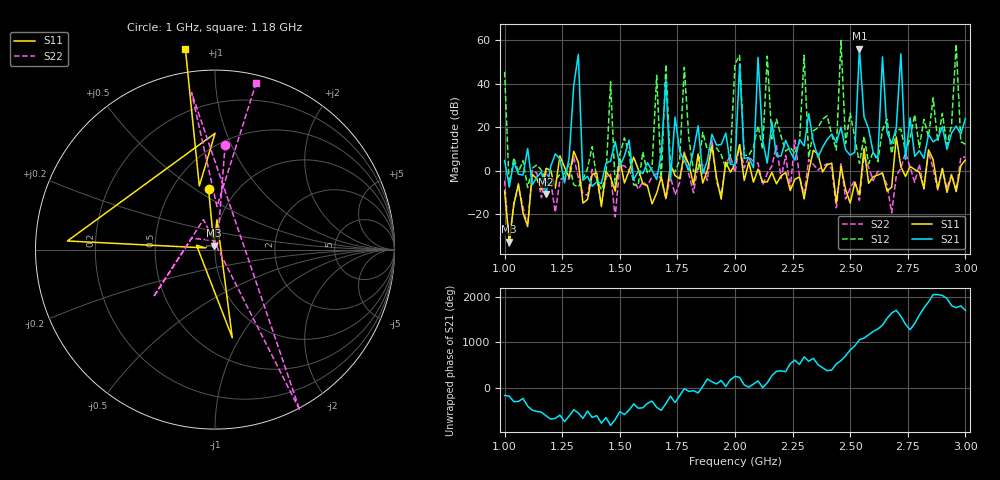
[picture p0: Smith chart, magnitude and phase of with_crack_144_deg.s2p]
# MHz S MA R 50
!  freq  S11  S21  S12  S22
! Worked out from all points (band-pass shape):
!   101 points, 1 GHz to 3 GHz, reference 50 ohm
!   highest |S21| = 55.95 dB at 2.54 GHz (marker M1); lowest = -10.7 dB at 1.18 GHz (marker M2)
!   |S21| within 3 dB of the highest: 1.319357 GHz to 1.320159 GHz (802.2 kHz wide, 0.0608 % of centre); 2.538736 GHz to 2.541923 GHz (3.187 MHz wide, 0.125 % of centre) (the widest 2 of 3)
!   lowest |S11| = -32.6 dB at 1.02 GHz (marker M3), VSWR 1.05, Z = 49.4 + j2.24 ohm
!   |S11| at or under -10 dB: 1.001 GHz to 1.052 GHz (51.12 MHz wide, 4.98 % of centre); 1.066 GHz to 1.113 GHz (47.07 MHz wide, 4.32 % of centre); 1.335 GHz to 1.366 GHz (30.8 MHz wide, 2.28 % of centre) (the widest 3 of 11)
!   |S22| runs from -34.7 to 14.4 dB; largest |S21 - S12| = 9.7e+02
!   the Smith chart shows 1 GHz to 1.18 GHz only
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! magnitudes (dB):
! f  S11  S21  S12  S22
! 1 GHz  -9.4  4.7  45.4  -4.6
! 1.02 GHz  -32.6  -7.1  -7.5  -34.7
! 1.18 GHz  1.0  -10.7  -4.8  -0.4
! 1.32 GHz  3.8  53.4  -7.4  -3.2
! 1.34 GHz  -14.9  -4.4  -4.1  -10.5
! 1.66 GHz  -10.3  -4.0  43.7  -1.3
! 1.68 GHz  -2.9  7.6  -3.5  -4.0
! 1.7 GHz  -12.9  41.8  48.8  -12.8
! 1.74 GHz  -2.3  24.6  -0.5  -11.1
! 1.78 GHz  7.8  4.7  47.5  8.5
! 2 GHz  2.7  2.6  49.0  -0.9
! 2.02 GHz  12.0  48.9  52.9  11.9
! 2.08 GHz  -5.3  1.3  10.8  4.3
! 2.1 GHz  0.7  52.0  20.7  3.5
! 2.14 GHz  -5.1  3.5  52.6  -1.2
! 2.34 GHz  9.4  13.4  18.3  2.9
! 2.44 GHz  -14.7  12.9  9.4  -17.0
! 2.46 GHz  1.9  20.0  59.8  3.6
! 2.54 GHz  -11.2  56.0  3.4  -13.6
! 2.68 GHz  -7.5  12.3  7.9  -19.3
! 2.96 GHz  -9.6  20.5  58.1  -9.0
! 3 GHz  4.9  23.9  12.2  6.3
